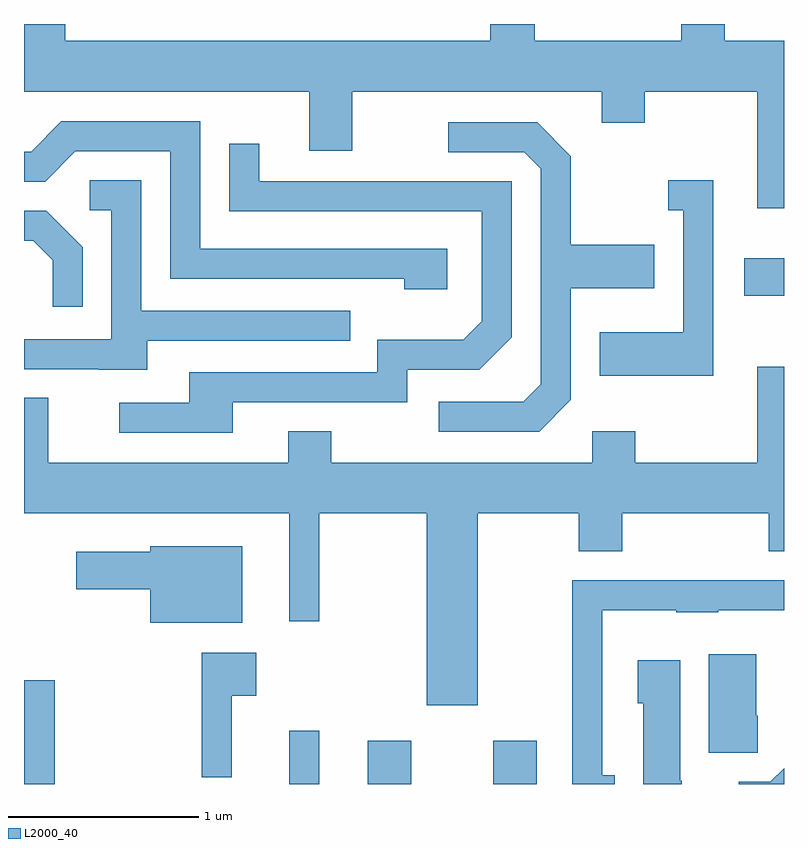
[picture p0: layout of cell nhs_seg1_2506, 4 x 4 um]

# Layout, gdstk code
import gdstk
lib = gdstk.Library(unit=1e-6, precision=1e-09)
def R(c, l, rs):  # rectangles x0, y0, x1, y1
    for r in rs: c.add(gdstk.rectangle(r[:2], r[2:], *l))
def P(c, l, *ps):  # polygons
    for p in ps: c.add(gdstk.Polygon(p, *l))
L2000_40 = (2000, 40)

nhs_seg1_2506 = lib.new_cell('nhs_seg1_2506')
R(nhs_seg1_2506, L2000_40, [(261.611,893.712,261.774,894.259), (263.006,893.712,263.164,893.993), (263.421,893.712,263.649,893.939), (264.081,893.712,264.309,893.939), (265.401,896.281,265.611,896.479)])
P(nhs_seg1_2506, L2000_40, [(265.611,897.624),(265.299,897.624),(265.299,897.712),(265.071,897.712),(265.071,897.624),(264.299,897.624),(264.299,897.712),(264.066,897.712),(264.066,897.624),(261.829,897.624),(261.829,897.712),(261.611,897.712),(261.611,897.356),(263.111,897.356),(263.111,897.046),(263.339,897.046),(263.339,897.356),(264.651,897.356),(264.651,897.191),(264.879,897.191),(264.879,897.356),(265.471,897.356),(265.471,896.741),(265.611,896.741)],
  [(263.839,896.529),(262.539,896.529),(262.539,897.199),(261.808,897.199),(261.649,897.039),(261.611,897.039),(261.611,896.881),(261.722,896.881),(261.882,897.041),(262.381,897.041),(262.381,896.371),(263.611,896.371),(263.611,896.316),(263.839,896.316)],
  [(264.489,895.734),(264.489,896.321),(264.929,896.321),(264.929,896.549),(264.489,896.549),(264.489,897.017),(264.312,897.194),(263.843,897.194),(263.843,897.036),(264.244,897.036),(264.331,896.949),(264.331,895.817),(264.239,895.724),(263.793,895.724),(263.793,895.566),(264.322,895.566)],
  [(262.709,895.721),(263.629,895.721),(263.629,895.891),(264.007,895.891),(264.179,896.064),(264.179,896.884),(262.849,896.884),(262.849,897.083),(262.691,897.083),(262.691,896.726),(264.021,896.726),(264.021,896.147),(263.924,896.049),(263.471,896.049),(263.471,895.879),(262.481,895.879),(262.481,895.719),(262.113,895.719),(262.113,895.561),(262.709,895.561)],
  [(262.259,896.046),(263.328,896.046),(263.328,896.204),(262.229,896.204),(262.229,896.889),(261.957,896.889),(261.957,896.731),(262.071,896.731),(262.071,896.054),(261.611,896.054),(261.611,895.896),(262.005,895.896),(262.005,895.891),(262.259,895.891)],
  [(265.239,896.889),(265.003,896.889),(265.003,896.731),(265.081,896.731),(265.081,896.089),(264.641,896.089),(264.641,895.861),(265.239,895.861)],
  [(261.919,896.537),(261.727,896.729),(261.611,896.729),(261.611,896.571),(261.659,896.571),(261.761,896.469),(261.761,896.223),(261.919,896.223)],
  [(263.999,895.136),(264.531,895.136),(264.531,894.936),(264.759,894.936),(264.759,895.136),(265.531,895.136),(265.531,894.936),(265.611,894.936),(265.611,895.909),(265.471,895.909),(265.471,895.404),(264.829,895.404),(264.829,895.569),(264.601,895.569),(264.601,895.404),(263.229,895.404),(263.229,895.569),(263.001,895.569),(263.001,895.404),(261.739,895.404),(261.739,895.744),(261.611,895.744),(261.611,895.136),(263.006,895.136),(263.006,894.568),(263.164,894.568),(263.164,895.136),(263.731,895.136),(263.731,894.126),(263.999,894.126)],
  [(262.759,894.964),(262.276,894.964),(262.276,894.934),(261.886,894.934),(261.886,894.736),(262.276,894.736),(262.276,894.561),(262.759,894.561)],
  [(264.719,893.759),(264.654,893.759),(264.654,894.626),(265.045,894.626),(265.045,894.616),(265.265,894.616),(265.265,894.626),(265.611,894.626),(265.611,894.784),(264.496,894.784),(264.496,893.712),(264.719,893.712)],
  [(262.704,894.176),(262.834,894.176),(262.834,894.404),(262.546,894.404),(262.546,893.748),(262.704,893.748)],
  [(265.474,894.07),(265.464,894.07),(265.464,894.394),(265.216,894.394),(265.216,893.876),(265.474,893.876)],
  [(265.074,893.73),(265.064,893.73),(265.064,894.364),(264.841,894.364),(264.841,894.136),(264.871,894.136),(264.871,893.712),(265.074,893.712)],
  [(265.611,893.796),(265.539,893.724),(265.373,893.724),(265.373,893.712),(265.611,893.712)])

lib.write_gds('nhs_seg1_2506.gds')
